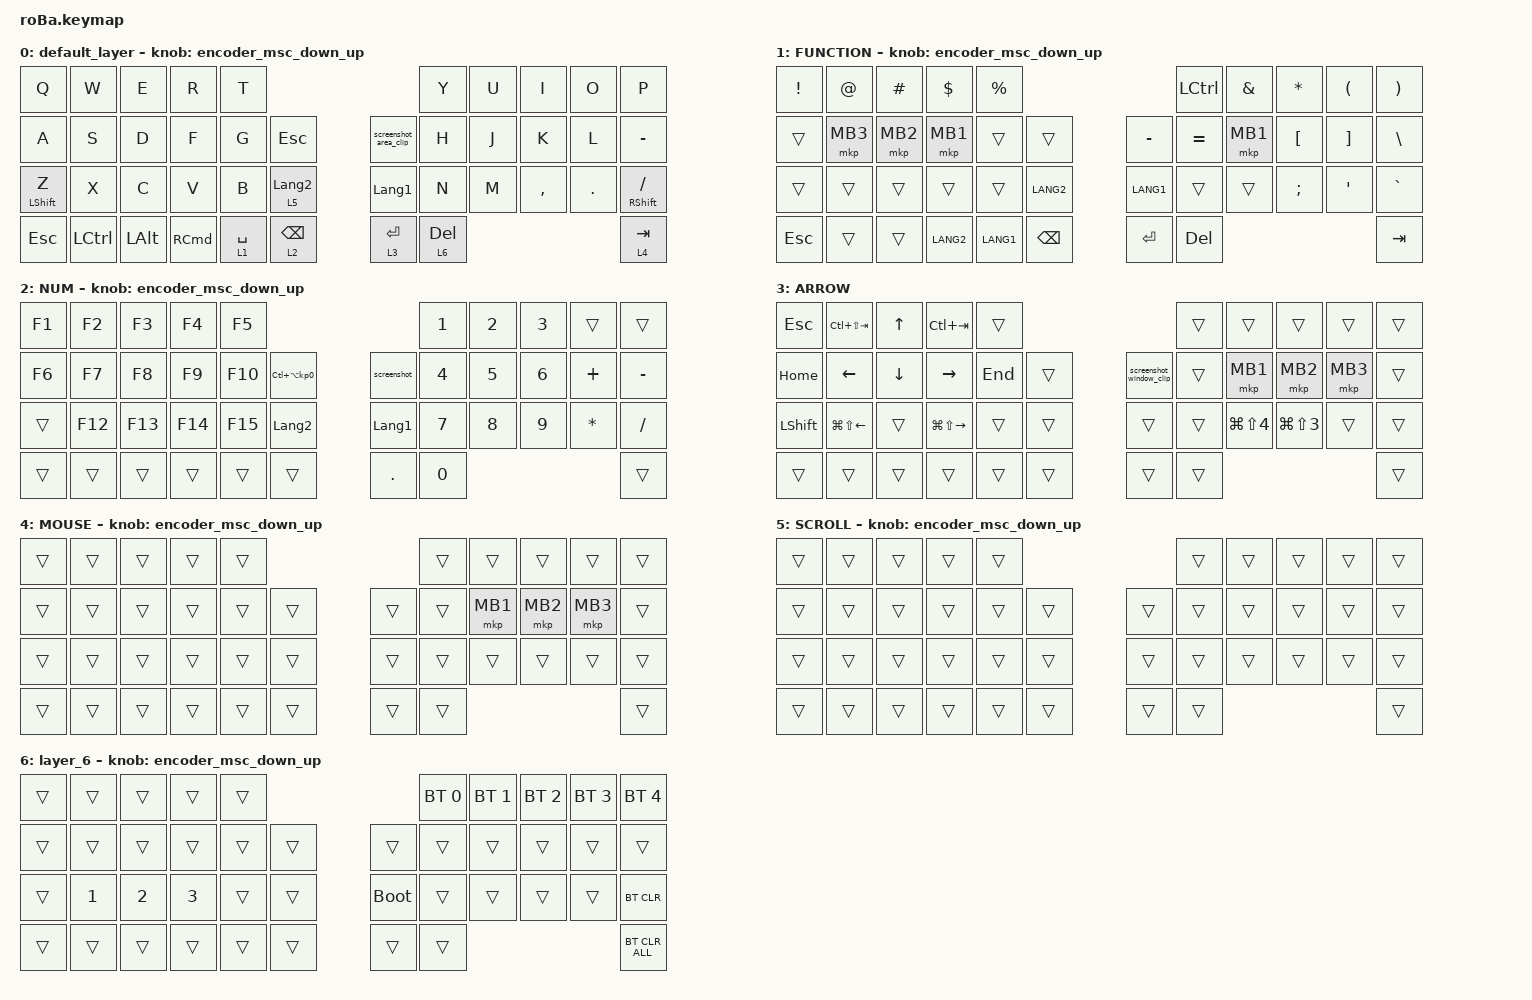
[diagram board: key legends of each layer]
#include <behaviors.dtsi>
#include <dt-bindings/zmk/bt.h>
#include <dt-bindings/zmk/keys.h>
#include <dt-bindings/zmk/pointing.h>

#define ZMK_POINTING_DEFAULT_SCRL_VAL 50  // スクロール量（速い→数値↑、細かく→数値↓）

&mt {
    flavor = "balanced";
    quick-tap-ms = <0>;
};

&trackball {
    automouse-layer = <4>;
    scroll-layers = <5>;
};

/ {
    combos {
        compatible = "zmk,combos";

        tab {
            bindings = <&kp TAB>;
            key-positions = <11 12>;
        };

        shift_tab {
            bindings = <&kp LS(TAB)>;
            key-positions = <12 13>;
        };

        muhennkann {
            bindings = <&to_layer_0 INT_MUHENKAN>;
            key-positions = <11 10>;
        };

        double_quotation {
            bindings = <&kp DOUBLE_QUOTES>;
            key-positions = <20 21>;
        };

        eq {
            bindings = <&kp EQUAL>;
            key-positions = <24 25>;
        };

        mkp_LCLK {
            bindings = <&mkp MB1>;
            key-positions = <18 34>;
        };
    };

    macros {
        to_layer_0: to_layer_0 {
            compatible = "zmk,behavior-macro-one-param";
            #binding-cells = <1>;
            bindings = <&to 0 &macro_param_1to1 &kp MACRO_PLACEHOLDER>;
            label = "TO_LAYER_0";
        };
    };

    behaviors {
        lt_to_layer_0: lt_to_layer_0 {
            compatible = "zmk,behavior-hold-tap";
            label = "LAYER_TAP_TO_0";
            bindings = <&mo>, <&to_layer_0>;

            #binding-cells = <2>;
            tapping-term-ms = <200>;
        };

        // エンコーダー回転 → マウスホイール（下／上）
        // 方向が逆なら SCRL_UP/SCRL_DOWN の順を入れ替えてください

        encoder_msc_down_up: encoder_msc_down_up {
            compatible = "zmk,behavior-sensor-rotate";
            label = "ENCODER_MSC_DOWN_UP";
            #sensor-binding-cells = <0>;
            bindings = <&msc SCRL_DOWN>, <&msc SCRL_UP>;

            tap-ms = <40>; // 速すぎる/飛ぶ時は 45〜50、遅い時は 20〜30 に
        };

        /* --- ここから スクショ（クリップボード）用 --- */
        /* クリップボードに「範囲選択」（⌃⌘⇧4） */

        screenshot_area_clip: screenshot_area_clip {
            compatible = "zmk,behavior-macro";
            label = "SCREENSHOT_AREA_CLIP";
            #binding-cells = <0>;
            bindings = <&kp LC(LG(LS(N4)))>;
        };

        /* クリップボードに「ウィンドウ選択」（⌃⌘⇧4 → Space） */

        screenshot_window_clip: screenshot_window_clip {
            compatible = "zmk,behavior-macro";
            label = "SCREENSHOT_WINDOW_CLIP";
            #binding-cells = <0>;
            bindings = <&kp LC(LG(LS(N4))) &kp SPACE>;
        };

        screenshot: new_macro {
            compatible = "zmk,behavior-macro";
            label = "NEW_MACRO";
            #binding-cells = <0>;
            bindings = <&kp LS(LG(N4)) &kp SPACE>;
        };

        /* Shift同時押しならウィンドウ版、そうでなければ範囲版に自動切替 */

        screenshot_clip_mm: screenshot_clip_mm {
            compatible = "zmk,behavior-mod-morph";
            label = "SCR_CLIP_MM";
            #binding-cells = <0>;
            mods = <(MOD_LSFT|MOD_RSFT)>;
            bindings = <&screenshot>, <&screenshot_area_clip>;
        };

        /* --- スクショここまで --- */
    };

    keymap {
        compatible = "zmk,keymap";

        default_layer {
            bindings = <
&kp Q             &kp W      &kp E         &kp R              &kp T                                                               &kp Y      &kp U  &kp I      &kp O    &kp P
&kp A             &kp S      &kp D         &kp F              &kp G        &kp ESC                         &screenshot_area_clip  &kp H      &kp J  &kp K      &kp L    &kp MINUS
&mt LEFT_SHIFT Z  &kp X      &kp C         &kp V              &kp B        &lt 5 LANGUAGE_2                &kp LANGUAGE_1         &kp N      &kp M  &kp COMMA  &kp DOT  &mt RIGHT_SHIFT SLASH
&kp ESC           &kp LCTRL  &kp LEFT_ALT  &kp RIGHT_COMMAND  &lt 1 SPACE  &lt_to_layer_0 2 BACKSPACE      &lt 3 ENTER            &lt 6 DEL                             &lt 4 TAB
            >;

            // ← エンコーダー回転はスクロール

            sensor-bindings = <&encoder_msc_down_up>;
        };

        FUNCTION {
            bindings = <
&kp EXCLAMATION  &kp AT_SIGN  &kp HASH  &kp DOLLAR  &kp PERCENT                                &kp LEFT_CONTROL  &kp AMPERSAND  &kp ASTERISK      &kp LEFT_PARENTHESIS  &kp RIGHT_PARENTHESIS
&trans           &mkp MB3     &mkp MB2  &mkp MB1    &trans       &trans             &kp MINUS  &kp EQUAL         &mkp MB1       &kp LEFT_BRACKET  &kp RIGHT_BRACKET     &kp BACKSLASH
&trans           &trans       &trans    &trans      &trans       &kp LANG2          &kp LANG1  &trans            &trans         &kp SEMICOLON     &kp SQT               &kp GRAVE
&kp ESC          &trans       &trans    &kp LANG2   &kp LANG1    &kp BACKSPACE      &kp ENTER  &kp DEL                                                                  &kp TAB
            >;

            sensor-bindings = <&encoder_msc_down_up>;
        };

        NUM {
            bindings = <
&kp F1  &kp F2   &kp F3   &kp F4   &kp F5                                                &kp NUMBER_1  &kp NUMBER_2  &kp NUMBER_3  &trans        &trans
&kp F6  &kp F7   &kp F8   &kp F9   &kp F10  &kp LC(LA(KP_NUMBER_0))      &screenshot     &kp NUMBER_4  &kp N5        &kp NUMBER_6  &kp PLUS      &kp MINUS
&trans  &kp F12  &kp F13  &kp F14  &kp F15  &kp LANGUAGE_2               &kp LANGUAGE_1  &kp N7        &kp N8        &kp N9        &kp ASTERISK  &kp SLASH
&trans  &trans   &trans   &trans   &trans   &trans                       &kp PERIOD      &kp N0                                                  &trans
            >;

            sensor-bindings = <&encoder_msc_down_up>;
        };

        ARROW {
            bindings = <
&kp ESCAPE      &kp LC(LS(TAB))         &kp UP_ARROW    &kp LC(TAB)              &trans                                        &trans  &trans          &trans          &trans    &trans
&kp HOME        &kp LEFT_ARROW          &kp DOWN_ARROW  &kp RIGHT_ARROW          &kp END  &trans      &screenshot_window_clip  &trans  &mkp MB1        &mkp MB2        &mkp MB3  &trans
&kp LEFT_SHIFT  &kp LG(LS(LEFT_ARROW))  &trans          &kp LG(LS(RIGHT_ARROW))  &trans   &trans      &trans                   &trans  &kp LG(LS(N4))  &kp LG(LS(N3))  &trans    &trans
&trans          &trans                  &trans          &trans                   &trans   &trans      &trans                   &trans                                            &trans
            >;
        };

        MOUSE {
            bindings = <
&trans  &trans  &trans  &trans  &trans                      &trans  &trans    &trans    &trans    &trans
&trans  &trans  &trans  &trans  &trans  &trans      &trans  &trans  &mkp MB1  &mkp MB2  &mkp MB3  &trans
&trans  &trans  &trans  &trans  &trans  &trans      &trans  &trans  &trans    &trans    &trans    &trans
&trans  &trans  &trans  &trans  &trans  &trans      &trans  &trans                                &trans
            >;

            sensor-bindings = <&encoder_msc_down_up>;
        };

        SCROLL {
            bindings = <
&trans  &trans  &trans  &trans  &trans                      &trans  &trans  &trans  &trans  &trans
&trans  &trans  &trans  &trans  &trans  &trans      &trans  &trans  &trans  &trans  &trans  &trans
&trans  &trans  &trans  &trans  &trans  &trans      &trans  &trans  &trans  &trans  &trans  &trans
&trans  &trans  &trans  &trans  &trans  &trans      &trans  &trans                          &trans
            >;

            sensor-bindings = <&encoder_msc_down_up>;
        };

        layer_6 {
            bindings = <
&trans  &trans        &trans        &trans        &trans                           &bt BT_SEL 0  &bt BT_SEL 1  &bt BT_SEL 2  &bt BT_SEL 3  &bt BT_SEL 4
&trans  &trans        &trans        &trans        &trans  &trans      &trans       &trans        &trans        &trans        &trans        &trans
&trans  &kp NUMBER_1  &kp NUMBER_2  &kp NUMBER_3  &trans  &trans      &bootloader  &trans        &trans        &trans        &trans        &bt BT_CLR
&trans  &trans        &trans        &trans        &trans  &trans      &trans       &trans                                                  &bt BT_CLR_ALL
            >;

            sensor-bindings = <&encoder_msc_down_up>;
        };
    };
};
